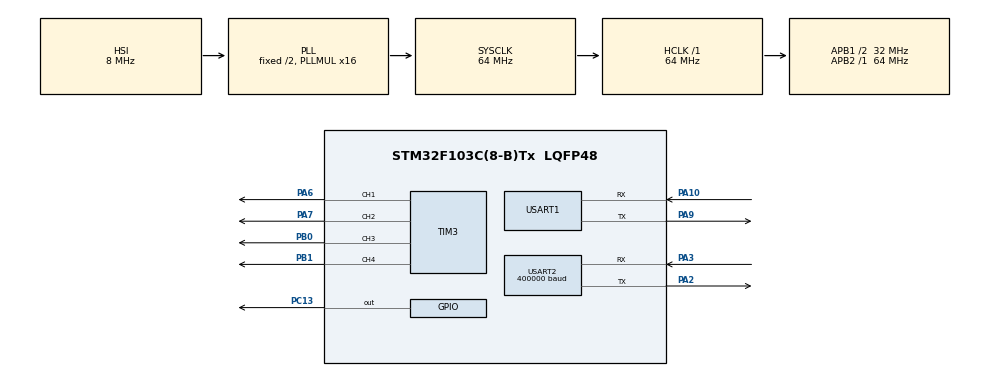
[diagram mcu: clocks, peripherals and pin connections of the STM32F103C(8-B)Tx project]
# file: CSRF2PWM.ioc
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Mcu.Family=STM32F1
Mcu.Name=STM32F103C(8-B)Tx
Mcu.Package=LQFP48
NVIC.PriorityGroup=NVIC_PRIORITYGROUP_4
NVIC.USART2_IRQn=true\:0\:0\:false\:false\:true\:true\:true\:true
PA10.Mode=Asynchronous
PA10.Signal=USART1_RX
PA2.Mode=Asynchronous
PA2.Signal=USART2_TX
PA3.Mode=Asynchronous
PA3.Signal=USART2_RX
PA6.Signal=S_TIM3_CH1
PA7.Signal=S_TIM3_CH2
PA9.Mode=Asynchronous
PA9.Signal=USART1_TX
PB0.Signal=S_TIM3_CH3
PB1.Signal=S_TIM3_CH4
PC13-TAMPER-RTC.Signal=GPIO_Output
ProjectManager.HeapSize=0x200
ProjectManager.StackSize=0x400
ProjectManager.TargetToolchain=STM32CubeIDE
RCC.AHBFreq_Value=64000000
RCC.APB1CLKDivider=RCC_HCLK_DIV2
RCC.APB1Freq_Value=32000000
RCC.APB1TimFreq_Value=64000000
RCC.APB2Freq_Value=64000000
RCC.APB2TimFreq_Value=64000000
RCC.HCLKFreq_Value=64000000
RCC.PLLMUL=RCC_PLL_MUL16
RCC.SYSCLKFreq_VALUE=64000000
RCC.SYSCLKSource=RCC_SYSCLKSOURCE_PLLCLK
RCC.USBFreq_Value=64000000
SH.S_TIM3_CH1.0=TIM3_CH1,PWM Generation1 CH1
SH.S_TIM3_CH2.0=TIM3_CH2,PWM Generation2 CH2
SH.S_TIM3_CH3.0=TIM3_CH3,PWM Generation3 CH3
SH.S_TIM3_CH4.0=TIM3_CH4,PWM Generation4 CH4
TIM3.Channel-PWM\ Generation1\ CH1=TIM_CHANNEL_1
TIM3.Channel-PWM\ Generation2\ CH2=TIM_CHANNEL_2
TIM3.Channel-PWM\ Generation3\ CH3=TIM_CHANNEL_3
TIM3.Channel-PWM\ Generation4\ CH4=TIM_CHANNEL_4
USART1.VirtualMode=VM_ASYNC
USART2.BaudRate=400000
USART2.VirtualMode=VM_ASYNC
VP_SYS_VS_ND.Mode=No_Debug
VP_TIM3_VS_ClockSourceINT.Mode=Internal
board=custom

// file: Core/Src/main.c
/* USER CODE BEGIN Header */
/**
  ******************************************************************************
  * @file           : main.c
  * @brief          : Main program body
  ******************************************************************************
  * @attention
  *
  * Copyright (c) 2024 STMicroelectronics.
  * All rights reserved.
  *
  * This software is licensed under terms that can be found in the LICENSE file
  * in the root directory of this software component.
  * If no LICENSE file comes with this software, it is provided AS-IS.
  *
  ******************************************************************************
  */
/* USER CODE END Header */
#include "main.h"
#include "crc8.h"
#include "stdio.h"
#include "pwm.h"

/* USER CODE BEGIN PM */
#define POLY 0xd5
/* USER CODE END PM */

typedef enum {
	STATE_IDLE = 0,
	STATE_LENGHT = 1,
	STATE_DATA = 2,
}state_rec_t;
TIM_HandleTypeDef htim3;

UART_HandleTypeDef huart1;
UART_HandleTypeDef huart2;
uint8_t rx_buff[2];
uint8_t rxbuff[CRSF_MAX_PACKET_SIZE];

void SystemClock_Config(void);
static void MX_GPIO_Init(void);
static void MX_TIM3_Init(void);
static void MX_USART1_UART_Init(void);
static void MX_USART2_UART_Init(void);
#ifdef __GNUC__
/* With GCC/RAISONANCE, small printf (option LD Linker->Libraries->Small printf
   set to 'Yes') calls __io_putchar() */
#define PUTCHAR_PROTOTYPE int __io_putchar(int ch)
#else
#define PUTCHAR_PROTOTYPE int fputc(int ch, FILE *f)
#endif /* __GNUC__ */

/* USER CODE BEGIN 0 */

void set_pwm_duty_cycle(uint16_t val,uint8_t ch )
{
  TIM_OC_InitTypeDef sConfigOC = {0};

  sConfigOC.OCMode = TIM_OCMODE_PWM1;
  sConfigOC.Pulse = val;
  sConfigOC.OCPolarity = TIM_OCPOLARITY_HIGH;
  sConfigOC.OCFastMode = TIM_OCFAST_DISABLE;
  HAL_TIM_PWM_ConfigChannel(&htim3, &sConfigOC, ch);
  HAL_TIM_PWM_Start(&htim3, ch);
}

static void processCRSFpacket(uint8_t *pdata)
{
    const crsf_header_t *hdr = (crsf_header_t *)pdata;
    if ((hdr->device_addr == CRSF_ADDRESS_FLIGHT_CONTROLLER) || (hdr->device_addr == CRSF_ADDRESS_CRSF_TRANSMITTER)) {
        switch (hdr->type)
        {
        case CRSF_FRAMETYPE_GPS:
           // packetGps(hdr);
            break;
        case CRSF_FRAMETYPE_RC_CHANNELS_PACKED:
            process_RC_channels(hdr);
            uint16_t val = get_pwm_value(9);
           // set_pwm_duty_cycle(val,TIM_CHANNEL_1);
            TIM3->CCR1 = val;
             val = get_pwm_value(10);
           // set_pwm_duty_cycle(val,TIM_CHANNEL_2);
            TIM3->CCR2 = val;
             val = get_pwm_value(11);
           // set_pwm_duty_cycle(val,TIM_CHANNEL_3);
            TIM3->CCR3= val;
             val = get_pwm_value(12);
            //set_pwm_duty_cycle(val,TIM_CHANNEL_4);
            TIM3->CCR4 = val;
            break;
        case CRSF_FRAMETYPE_LINK_STATISTICS:
            //packetLinkStatistics(hdr);
            break;
        }
    } // CRSF_ADDRESS_FLIGHT_CONTROLLER

}
static void crsf_recieve(uint8_t rx_data){

	static state_rec_t state = STATE_IDLE;
	static uint8_t index = 0;
	switch (state){
		case STATE_IDLE:
			if ((rx_data == CRSF_ADDRESS_FLIGHT_CONTROLLER) || (rx_data == CRSF_ADDRESS_CRSF_TRANSMITTER)) {
				HAL_GPIO_TogglePin(GPIOC, GPIO_PIN_13);
				//printf("--------adrr 0x%02x\n\r", rx_data);
				state = STATE_LENGHT;
				index = 0;
				rxbuff[index++] = rx_data;
			}
			break;
		case STATE_LENGHT:
			//printf("--------len 0x%02x\n\r", rx_data);
			if ((rx_data < 3 ) || (rx_data > CRSF_MAX_PAYLOAD_LEN + 2)) {
				state = STATE_IDLE;
			} else {
				state = STATE_DATA;
				rxbuff[index++] = rx_data;
			}
			break;
		case STATE_DATA:
			rxbuff[index++] = rx_data;
			if (index >=rxbuff[1] + 2) {
				state = STATE_IDLE;
				uint8_t crc_in = rxbuff[2 + rxbuff[1] - 1];
				uint8_t crc_calc = crc8_calc(&rxbuff[2], rxbuff[1] - 1);
				printf("addr =0x%02x, lenght = 0x%02x,type = 0x%02x, crc in =0x%02x, crc calc = 0x%02x\n\r",
						rxbuff[0],rxbuff[1], rxbuff[2],crc_in,crc_calc);
				if (crc_in == crc_calc) {
					processCRSFpacket(rxbuff);
					printf("CRC_OK\n\r");
				} else {
					printf("CRC WRONG\n\r");
				}
			}
			break;
	}
}

void HAL_UART_RxCpltCallback(UART_HandleTypeDef *huart)
{
	crsf_recieve(rx_buff[0]);
}
/* USER CODE END 0 */

int main(void)
{

  /* MCU Configuration--------------------------------------------------------*/

  /* Reset of all peripherals, Initializes the Flash interface and the Systick. */
  HAL_Init();

  /* Configure the system clock */
  SystemClock_Config();

  /* Initialize all configured peripherals */
  MX_GPIO_Init();
  MX_TIM3_Init();
  MX_USART1_UART_Init();
  MX_USART2_UART_Init();
  crc8_init(POLY);
  HAL_UART_Receive_IT(&huart2, (uint8_t *)rx_buff, 1);
  HAL_TIM_PWM_Start(&htim3, TIM_CHANNEL_1);
  HAL_TIM_PWM_Start(&htim3, TIM_CHANNEL_2);
  HAL_TIM_PWM_Start(&htim3, TIM_CHANNEL_3);
  HAL_TIM_PWM_Start(&htim3, TIM_CHANNEL_4);

  /* Infinite loop */
  while (1)
  {

  }
}
PUTCHAR_PROTOTYPE
{
  /* Place your implementation of fputc here */
  /* e.g. write a character to the USART1 and Loop until the end of transmission */
  HAL_UART_Transmit(&huart1, (uint8_t *)&ch, 1, 0xFFFF);

  return ch;
}
void SystemClock_Config(void)
{
  RCC_OscInitTypeDef RCC_OscInitStruct = {0};
  RCC_ClkInitTypeDef RCC_ClkInitStruct = {0};

  /** Initializes the RCC Oscillators according to the specified parameters
  * in the RCC_OscInitTypeDef structure.
  */
  RCC_OscInitStruct.OscillatorType = RCC_OSCILLATORTYPE_HSI;
  RCC_OscInitStruct.HSIState = RCC_HSI_ON;
  RCC_OscInitStruct.HSICalibrationValue = RCC_HSICALIBRATION_DEFAULT;
  RCC_OscInitStruct.PLL.PLLState = RCC_PLL_ON;
  RCC_OscInitStruct.PLL.PLLSource = RCC_PLLSOURCE_HSI_DIV2;
  RCC_OscInitStruct.PLL.PLLMUL = RCC_PLL_MUL16;
  if (HAL_RCC_OscConfig(&RCC_OscInitStruct) != HAL_OK)
  {
    Error_Handler();
  }

  /** Initializes the CPU, AHB and APB buses clocks
  */
  RCC_ClkInitStruct.ClockType = RCC_CLOCKTYPE_HCLK|RCC_CLOCKTYPE_SYSCLK
                              |RCC_CLOCKTYPE_PCLK1|RCC_CLOCKTYPE_PCLK2;
  RCC_ClkInitStruct.SYSCLKSource = RCC_SYSCLKSOURCE_PLLCLK;
  RCC_ClkInitStruct.AHBCLKDivider = RCC_SYSCLK_DIV1;
  RCC_ClkInitStruct.APB1CLKDivider = RCC_HCLK_DIV2;
  RCC_ClkInitStruct.APB2CLKDivider = RCC_HCLK_DIV1;

  if (HAL_RCC_ClockConfig(&RCC_ClkInitStruct, FLASH_LATENCY_2) != HAL_OK)
  {
    Error_Handler();
  }
}

static void MX_TIM3_Init(void)
{

  TIM_ClockConfigTypeDef sClockSourceConfig = {0};
  TIM_MasterConfigTypeDef sMasterConfig = {0};
  TIM_OC_InitTypeDef sConfigOC = {0};

  htim3.Instance = TIM3;
  htim3.Init.Prescaler = 64;
  htim3.Init.CounterMode = TIM_COUNTERMODE_UP;
  htim3.Init.Period = 20000;
  htim3.Init.ClockDivision = TIM_CLOCKDIVISION_DIV1;
  htim3.Init.AutoReloadPreload = TIM_AUTORELOAD_PRELOAD_ENABLE;
  if (HAL_TIM_Base_Init(&htim3) != HAL_OK)
  {
    Error_Handler();
  }
  sClockSourceConfig.ClockSource = TIM_CLOCKSOURCE_INTERNAL;
  if (HAL_TIM_ConfigClockSource(&htim3, &sClockSourceConfig) != HAL_OK)
  {
    Error_Handler();
  }
  if (HAL_TIM_PWM_Init(&htim3) != HAL_OK)
  {
    Error_Handler();
  }
  sMasterConfig.MasterOutputTrigger = TIM_TRGO_RESET;
  sMasterConfig.MasterSlaveMode = TIM_MASTERSLAVEMODE_DISABLE;
  if (HAL_TIMEx_MasterConfigSynchronization(&htim3, &sMasterConfig) != HAL_OK)
  {
    Error_Handler();
  }
  sConfigOC.OCMode = TIM_OCMODE_PWM1;
  sConfigOC.Pulse = 10000;
  sConfigOC.OCPolarity = TIM_OCPOLARITY_HIGH;
  sConfigOC.OCFastMode = TIM_OCFAST_DISABLE;
  if (HAL_TIM_PWM_ConfigChannel(&htim3, &sConfigOC, TIM_CHANNEL_1) != HAL_OK)
  {
    Error_Handler();
  }
  if (HAL_TIM_PWM_ConfigChannel(&htim3, &sConfigOC, TIM_CHANNEL_2) != HAL_OK)
  {
    Error_Handler();
  }
  if (HAL_TIM_PWM_ConfigChannel(&htim3, &sConfigOC, TIM_CHANNEL_3) != HAL_OK)
  {
    Error_Handler();
  }
  if (HAL_TIM_PWM_ConfigChannel(&htim3, &sConfigOC, TIM_CHANNEL_4) != HAL_OK)
  {
    Error_Handler();
  }
  HAL_TIM_MspPostInit(&htim3);

}

static void MX_USART1_UART_Init(void)
{

  huart1.Instance = USART1;
  huart1.Init.BaudRate = 115200;
  huart1.Init.WordLength = UART_WORDLENGTH_8B;
  huart1.Init.StopBits = UART_STOPBITS_1;
  huart1.Init.Parity = UART_PARITY_NONE;
  huart1.Init.Mode = UART_MODE_TX_RX;
  huart1.Init.HwFlowCtl = UART_HWCONTROL_NONE;
  huart1.Init.OverSampling = UART_OVERSAMPLING_16;
  if (HAL_UART_Init(&huart1) != HAL_OK)
  {
    Error_Handler();
  }

}

static void MX_USART2_UART_Init(void)
{

  huart2.Instance = USART2;
  huart2.Init.BaudRate = 400000;
  huart2.Init.WordLength = UART_WORDLENGTH_8B;
  huart2.Init.StopBits = UART_STOPBITS_1;
  huart2.Init.Parity = UART_PARITY_NONE;
  huart2.Init.Mode = UART_MODE_TX_RX;
  huart2.Init.HwFlowCtl = UART_HWCONTROL_NONE;
  huart2.Init.OverSampling = UART_OVERSAMPLING_16;
  if (HAL_UART_Init(&huart2) != HAL_OK)
  {
    Error_Handler();
  }

}

static void MX_GPIO_Init(void)
{
  GPIO_InitTypeDef GPIO_InitStruct = {0};

  /* GPIO Ports Clock Enable */
  __HAL_RCC_GPIOC_CLK_ENABLE();
  __HAL_RCC_GPIOA_CLK_ENABLE();
  __HAL_RCC_GPIOB_CLK_ENABLE();

  /*Configure GPIO pin Output Level */
  HAL_GPIO_WritePin(GPIOC, GPIO_PIN_13, GPIO_PIN_RESET);

  /*Configure GPIO pin : PC13 */
  GPIO_InitStruct.Pin = GPIO_PIN_13;
  GPIO_InitStruct.Mode = GPIO_MODE_OUTPUT_PP;
  GPIO_InitStruct.Pull = GPIO_NOPULL;
  GPIO_InitStruct.Speed = GPIO_SPEED_FREQ_LOW;
  HAL_GPIO_Init(GPIOC, &GPIO_InitStruct);

}

void Error_Handler(void)
{
  __disable_irq();
  while (1)
  {
  }
}
